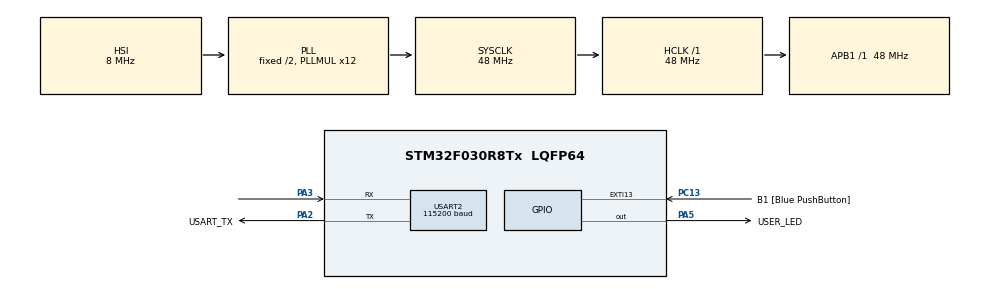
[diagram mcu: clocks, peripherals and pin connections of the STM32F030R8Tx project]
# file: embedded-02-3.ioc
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Mcu.Family=STM32F0
Mcu.Name=STM32F030R8Tx
Mcu.Package=LQFP64
NVIC.TIM1_BRK_UP_TRG_COM_IRQn=true\:0\:0\:false\:false\:true\:true\:true\:true
NVIC.USART2_IRQn=true\:0\:0\:false\:false\:true\:true\:true\:true
PA13.GPIO_Label=TMS
PA13.Mode=Serial_Wire
PA13.Signal=SYS_SWDIO
PA14.GPIO_Label=TCK
PA14.Mode=Serial_Wire
PA14.Signal=SYS_SWCLK
PA2.GPIO_Label=USART_TX
PA2.GPIO_Mode=GPIO_MODE_AF_PP
PA2.GPIO_PuPd=GPIO_NOPULL
PA2.GPIO_Speed=GPIO_SPEED_FREQ_LOW
PA2.Mode=Asynchronous
PA2.Signal=USART2_TX
PA3.Mode=Asynchronous
PA3.Signal=USART2_RX
PA5.GPIO_Label=USER_LED
PA5.Signal=GPIO_Output
PC13.GPIO_Label=B1 [Blue PushButton]
PC13.GPIO_ModeDefaultEXTI=GPIO_MODE_IT_FALLING
PC13.Signal=GPXTI13
PC14-OSC32_IN.Mode=LSE-External-Oscillator
PC14-OSC32_IN.Signal=RCC_OSC32_IN
PC15-OSC32_OUT.Mode=LSE-External-Oscillator
PC15-OSC32_OUT.Signal=RCC_OSC32_OUT
PF0-OSC_IN.Mode=HSE-External-Clock-Source
PF0-OSC_IN.Signal=RCC_OSC_IN
PF1-OSC_OUT.Signal=RCC_OSC_OUT
ProjectManager.HeapSize=0x200
ProjectManager.StackSize=0x400
ProjectManager.TargetToolchain=EWARM V8.32
RCC.AHBFreq_Value=48000000
RCC.APB1Freq_Value=48000000
RCC.APB1TimFreq_Value=48000000
RCC.HCLKFreq_Value=48000000
RCC.PLLMUL=RCC_PLL_MUL12
RCC.SYSCLKFreq_VALUE=48000000
RCC.SYSCLKSource=RCC_SYSCLKSOURCE_PLLCLK
TIM1.AutoReloadPreload=TIM_AUTORELOAD_PRELOAD_ENABLE
TIM1.Period=999
TIM1.Prescaler=47999
USART2.BaudRate=115200
USART2.VirtualMode-Asynchronous=VM_ASYNC
VP_TIM1_VS_ClockSourceINT.Mode=Internal
board=NUCLEO-F030R8

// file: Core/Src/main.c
/* USER CODE BEGIN Header */
/**
  ******************************************************************************
  * @file           : main.c
  * @brief          : Main program body
  ******************************************************************************
  * @attention
  *
  * Copyright (c) 2026 STMicroelectronics.
  * All rights reserved.
  *
  * This software is licensed under terms that can be found in the LICENSE file
  * in the root directory of this software component.
  * If no LICENSE file comes with this software, it is provided AS-IS.
  *
  ******************************************************************************
  */
/* USER CODE END Header */
#include "main.h"

TIM_HandleTypeDef htim1;

UART_HandleTypeDef huart2;

/* USER CODE BEGIN PV */
uint8_t message[] = "Period Elapsed\r\n";
volatile FlagStatus periodElapsed = RESET;
/* USER CODE END PV */

void SystemClock_Config(void);
static void MX_GPIO_Init(void);
static void MX_USART2_UART_Init(void);
static void MX_TIM1_Init(void);
/* USER CODE BEGIN PFP */
void User_UartCompleteCallback(UART_HandleTypeDef *huart);
void User_TIMPeriodElapsedCallback(TIM_HandleTypeDef *htim);
/* USER CODE END PFP */

int main(void)
{

  /* MCU Configuration--------------------------------------------------------*/

  /* Reset of all peripherals, Initializes the Flash interface and the Systick. */
  HAL_Init();

  /* Configure the system clock */
  SystemClock_Config();

  /* Initialize all configured peripherals */
  MX_GPIO_Init();
  MX_USART2_UART_Init();
  MX_TIM1_Init();
 /* USER CODE BEGIN 2 */
HAL_UART_RegisterCallback(&huart2, HAL_UART_TX_COMPLETE_CB_ID, User_UartCompleteCallback);
HAL_TIM_RegisterCallback(&htim1, HAL_TIM_PERIOD_ELAPSED_CB_ID, User_TIMPeriodElapsedCallback);
HAL_TIM_Base_Start_IT(&htim1);
/* USER CODE END 2 */

  /* Infinite loop */
  /* USER CODE BEGIN WHILE */
while (1)
{
  if (periodElapsed == SET)
  {
    periodElapsed = RESET;
    HAL_UART_Transmit_IT(&huart2, message, sizeof(message) - 1);
  }
  /* USER CODE END WHILE */
}
}

void SystemClock_Config(void)
{
  RCC_OscInitTypeDef RCC_OscInitStruct = {0};
  RCC_ClkInitTypeDef RCC_ClkInitStruct = {0};

  /** Initializes the RCC Oscillators according to the specified parameters
  * in the RCC_OscInitTypeDef structure.
  */
  RCC_OscInitStruct.OscillatorType = RCC_OSCILLATORTYPE_HSI;
  RCC_OscInitStruct.HSIState = RCC_HSI_ON;
  RCC_OscInitStruct.HSICalibrationValue = RCC_HSICALIBRATION_DEFAULT;
  RCC_OscInitStruct.PLL.PLLState = RCC_PLL_ON;
  RCC_OscInitStruct.PLL.PLLSource = RCC_PLLSOURCE_HSI;
  RCC_OscInitStruct.PLL.PLLMUL = RCC_PLL_MUL12;
  RCC_OscInitStruct.PLL.PREDIV = RCC_PREDIV_DIV1;
  if (HAL_RCC_OscConfig(&RCC_OscInitStruct) != HAL_OK)
  {
    Error_Handler();
  }

  /** Initializes the CPU, AHB and APB buses clocks
  */
  RCC_ClkInitStruct.ClockType = RCC_CLOCKTYPE_HCLK|RCC_CLOCKTYPE_SYSCLK
                              |RCC_CLOCKTYPE_PCLK1;
  RCC_ClkInitStruct.SYSCLKSource = RCC_SYSCLKSOURCE_PLLCLK;
  RCC_ClkInitStruct.AHBCLKDivider = RCC_SYSCLK_DIV1;
  RCC_ClkInitStruct.APB1CLKDivider = RCC_HCLK_DIV1;

  if (HAL_RCC_ClockConfig(&RCC_ClkInitStruct, FLASH_LATENCY_1) != HAL_OK)
  {
    Error_Handler();
  }
}

static void MX_TIM1_Init(void)
{

  TIM_ClockConfigTypeDef sClockSourceConfig = {0};
  TIM_MasterConfigTypeDef sMasterConfig = {0};

  htim1.Instance = TIM1;
  htim1.Init.Prescaler = 47999;
  htim1.Init.CounterMode = TIM_COUNTERMODE_UP;
  htim1.Init.Period = 999;
  htim1.Init.ClockDivision = TIM_CLOCKDIVISION_DIV1;
  htim1.Init.RepetitionCounter = 0;
  htim1.Init.AutoReloadPreload = TIM_AUTORELOAD_PRELOAD_ENABLE;
  if (HAL_TIM_Base_Init(&htim1) != HAL_OK)
  {
    Error_Handler();
  }
  sClockSourceConfig.ClockSource = TIM_CLOCKSOURCE_INTERNAL;
  if (HAL_TIM_ConfigClockSource(&htim1, &sClockSourceConfig) != HAL_OK)
  {
    Error_Handler();
  }
  sMasterConfig.MasterOutputTrigger = TIM_TRGO_RESET;
  sMasterConfig.MasterSlaveMode = TIM_MASTERSLAVEMODE_DISABLE;
  if (HAL_TIMEx_MasterConfigSynchronization(&htim1, &sMasterConfig) != HAL_OK)
  {
    Error_Handler();
  }

}

static void MX_USART2_UART_Init(void)
{

  huart2.Instance = USART2;
  huart2.Init.BaudRate = 115200;
  huart2.Init.WordLength = UART_WORDLENGTH_8B;
  huart2.Init.StopBits = UART_STOPBITS_1;
  huart2.Init.Parity = UART_PARITY_NONE;
  huart2.Init.Mode = UART_MODE_TX_RX;
  huart2.Init.HwFlowCtl = UART_HWCONTROL_NONE;
  huart2.Init.OverSampling = UART_OVERSAMPLING_16;
  huart2.Init.OneBitSampling = UART_ONE_BIT_SAMPLE_DISABLE;
  huart2.AdvancedInit.AdvFeatureInit = UART_ADVFEATURE_NO_INIT;
  if (HAL_UART_Init(&huart2) != HAL_OK)
  {
    Error_Handler();
  }

}

static void MX_GPIO_Init(void)
{
  GPIO_InitTypeDef GPIO_InitStruct = {0};

  /* GPIO Ports Clock Enable */
  __HAL_RCC_GPIOC_CLK_ENABLE();
  __HAL_RCC_GPIOF_CLK_ENABLE();
  __HAL_RCC_GPIOA_CLK_ENABLE();

  /*Configure GPIO pin Output Level */
  HAL_GPIO_WritePin(USER_LED_GPIO_Port, USER_LED_Pin, GPIO_PIN_RESET);

  /*Configure GPIO pin : B1_Pin */
  GPIO_InitStruct.Pin = B1_Pin;
  GPIO_InitStruct.Mode = GPIO_MODE_IT_FALLING;
  GPIO_InitStruct.Pull = GPIO_NOPULL;
  HAL_GPIO_Init(B1_GPIO_Port, &GPIO_InitStruct);

  /*Configure GPIO pin : USER_LED_Pin */
  GPIO_InitStruct.Pin = USER_LED_Pin;
  GPIO_InitStruct.Mode = GPIO_MODE_OUTPUT_PP;
  GPIO_InitStruct.Pull = GPIO_NOPULL;
  GPIO_InitStruct.Speed = GPIO_SPEED_FREQ_LOW;
  HAL_GPIO_Init(USER_LED_GPIO_Port, &GPIO_InitStruct);

}

/* USER CODE BEGIN 4 */
void HAL_GPIO_EXTI_Callback(uint16_t GPIO_Pin)
{
  if(GPIO_Pin == GPIO_PIN_13) {
    HAL_GPIO_WritePin(GPIOA, GPIO_PIN_5, GPIO_PIN_SET);
  } else {
      __NOP();
  }
}
void User_UartCompleteCallback(UART_HandleTypeDef *huart)
{
  HAL_GPIO_TogglePin(USER_LED_GPIO_Port, USER_LED_Pin);
}

void User_TIMPeriodElapsedCallback(TIM_HandleTypeDef *htim)
{
  periodElapsed = SET;
}
/* USER CODE END 4 */

void Error_Handler(void)
{
  __disable_irq();
  while (1)
  {
  }
}
